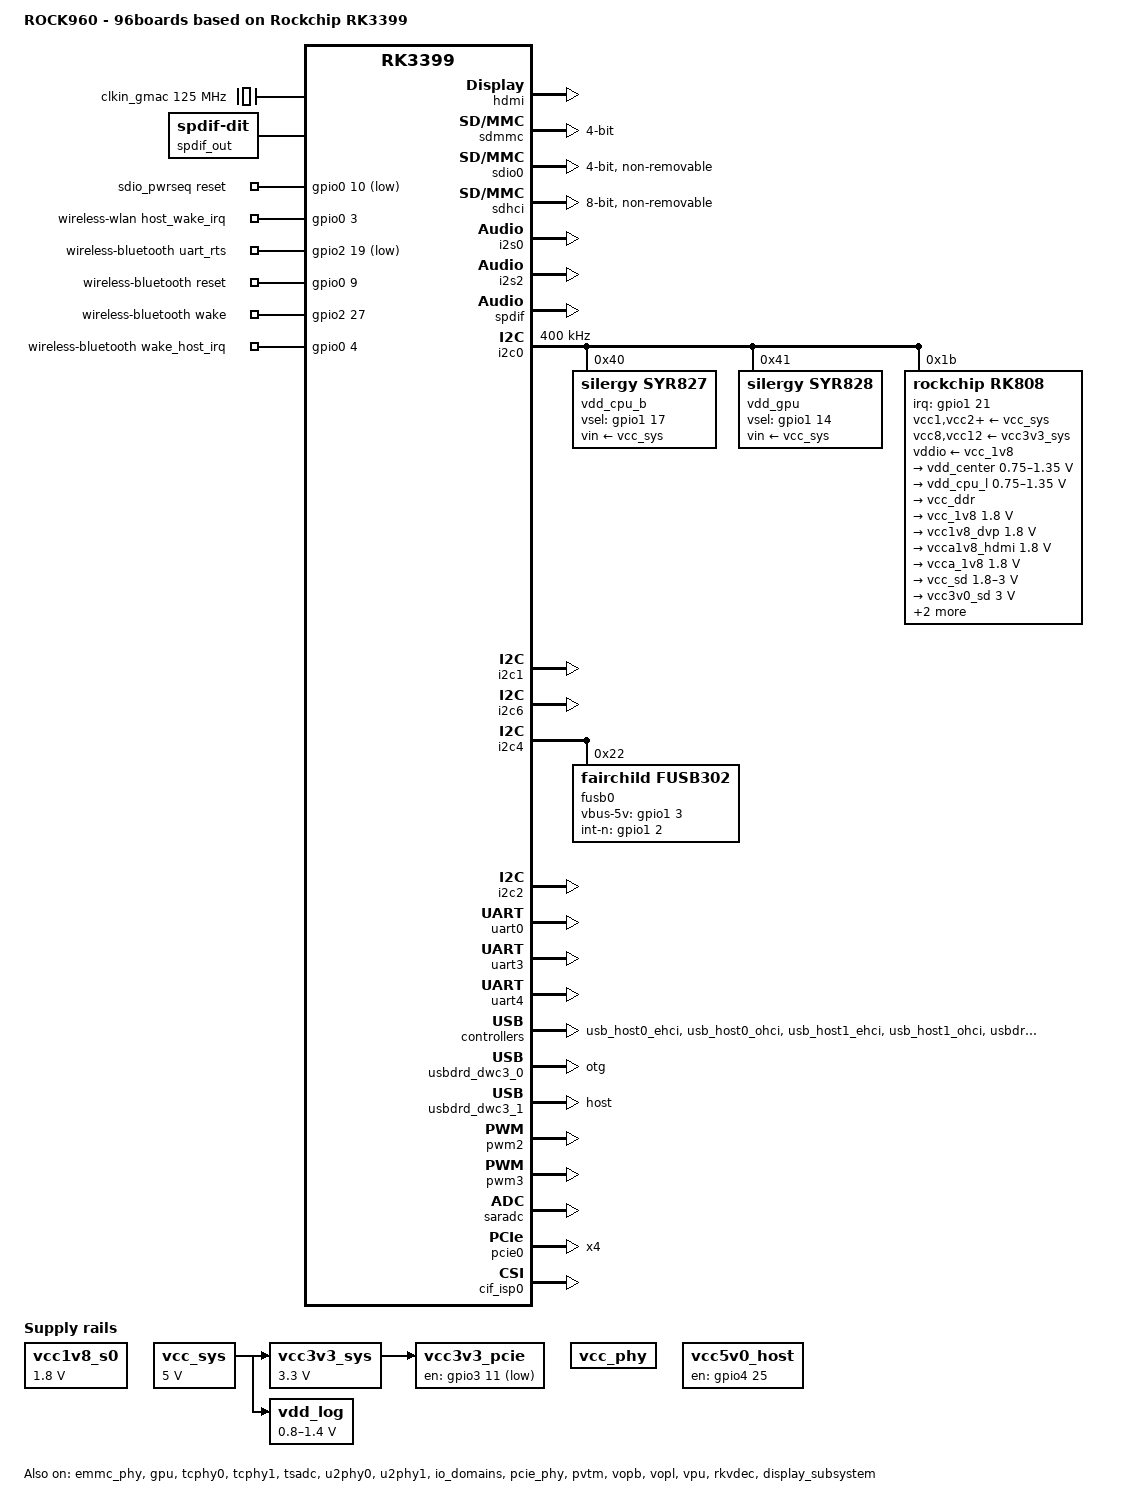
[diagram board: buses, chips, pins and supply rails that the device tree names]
// SPDX-License-Identifier: (GPL-2.0+ OR MIT)
/*
 * Copyright (c) 2018 Fuzhou Rockchip Electronics Co., Ltd
 */

/dts-v1/;

#include <dt-bindings/pwm/pwm.h>
#include <dt-bindings/input/input.h>
#include "rk3399.dtsi"
#include "rk3399-linux.dtsi"
#include "rk3399-opp.dtsi"

/ {

	model = "ROCK960 - 96boards based on Rockchip RK3399";
	compatible = "rockchip,rock960","rockchip,rk3399";

	fiq_debugger: fiq-debugger {
		compatible = "rockchip,fiq-debugger";
		rockchip,serial-id = <2>;
		rockchip,signal-irq = <182>;
		rockchip,wake-irq = <0>;
		rockchip,irq-mode-enable = <1>;
		rockchip,baudrate = <1500000>;  /* Only 115200 and 1500000 */
		pinctrl-names = "default";
		pinctrl-0 = <&uart2c_xfer>;
	};

	vcc1v8_s0: vcc1v8-s0 {
		compatible = "regulator-fixed";
		regulator-name = "vcc1v8_s0";
		regulator-min-microvolt = <1800000>;
		regulator-max-microvolt = <1800000>;
		regulator-always-on;
	};

	vcc_sys: vcc-sys {
		compatible = "regulator-fixed";
		regulator-name = "vcc_sys";
		regulator-min-microvolt = <5000000>;
		regulator-max-microvolt = <5000000>;
		regulator-always-on;
	};

	vcc_phy: vcc-phy-regulator {
		compatible = "regulator-fixed";
		regulator-name = "vcc_phy";
		regulator-always-on;
		regulator-boot-on;
	};

	vcc3v3_sys: vcc3v3-sys {
		compatible = "regulator-fixed";
		regulator-name = "vcc3v3_sys";
		regulator-min-microvolt = <3300000>;
		regulator-max-microvolt = <3300000>;
		regulator-always-on;
		vin-supply = <&vcc_sys>;
	};

	vcc3v3_pcie: vcc3v3-pcie-regulator {
		compatible = "regulator-fixed";
		gpio = <&gpio3 11 GPIO_ACTIVE_LOW>;
		pinctrl-names = "default";
		pinctrl-0 = <&pcie_drv>;
		regulator-boot-on;
		regulator-always-on;
		regulator-name = "vcc3v3_pcie";
		vin-supply = <&vcc3v3_sys>;
	};

	vcc5v0_host: vcc5v0-host-regulator {
		compatible = "regulator-fixed";
		enable-active-high;
		gpio = <&gpio4 25 GPIO_ACTIVE_HIGH>;
		pinctrl-names = "default";
		pinctrl-0 = <&host_vbus_drv>;
		regulator-name = "vcc5v0_host";
		regulator-always-on;
	};

	vdd_log: vdd-log {
		compatible = "pwm-regulator";
		pwms = <&pwm2 0 25000 1>;
		regulator-name = "vdd_log";
		regulator-min-microvolt = <800000>;
		regulator-max-microvolt = <1400000>;
		regulator-always-on;
		regulator-boot-on;

		/* for rockchip boot on */
		rockchip,pwm_id= <2>;
		rockchip,pwm_voltage = <900000>;

		vin-supply = <&vcc_sys>;
	};

	clkin_gmac: external-gmac-clock {
		compatible = "fixed-clock";
		clock-frequency = <125000000>;
		clock-output-names = "clkin_gmac";
		#clock-cells = <0>;
	};

	hdmi_codec: hdmi-codec {
		compatible = "simple-audio-card";
		simple-audio-card,format = "i2s";
		simple-audio-card,mclk-fs = <256>;
		simple-audio-card,name = "HDMI-CODEC";

		simple-audio-card,cpu {
			sound-dai = <&i2s2>;
		};

		simple-audio-card,codec {
			sound-dai = <&hdmi>;
		};
	};

	spdif-sound {
		status = "okay";
		compatible = "simple-audio-card";
		simple-audio-card,name = "ROCKCHIP,SPDIF";
		simple-audio-card,cpu {
			sound-dai = <&spdif>;
		};
		simple-audio-card,codec {
			sound-dai = <&spdif_out>;
		};
	};

	spdif_out: spdif-out {
		status = "okay";
		compatible = "linux,spdif-dit";
		#sound-dai-cells = <0>;
	};

	sdio_pwrseq: sdio-pwrseq {
		compatible = "mmc-pwrseq-simple";
		clocks = <&rk808 1>;
		clock-names = "ext_clock";
		pinctrl-names = "default";
		pinctrl-0 = <&wifi_enable_h>;

		/*
		 * On the module itself this is one of these (depending
		 * on the actual card populated):
		 * - SDIO_RESET_L_WL_REG_ON
		 * - PDN (power down when low)
		 */
		reset-gpios = <&gpio0 10 GPIO_ACTIVE_LOW>;
	};

	wireless-wlan {
		compatible = "wlan-platdata";
		rockchip,grf = <&grf>;
		wifi_chip_type = "ap6354";
		sdio_vref = <1800>;
		WIFI,host_wake_irq = <&gpio0 3 GPIO_ACTIVE_HIGH>;
		status = "okay";
	};

	wireless-bluetooth {
		compatible = "bluetooth-platdata";
		clocks = <&rk808 1>;
		clock-names = "ext_clock";
		/* wifi-bt-power-toggle; */
		uart_rts_gpios = <&gpio2 19 GPIO_ACTIVE_LOW>;
		pinctrl-names = "default", "rts_gpio";
		pinctrl-0 = <&uart0_rts>;
		pinctrl-1 = <&uart0_gpios>;
		/* BT,power_gpio  = <&gpio3 19 GPIO_ACTIVE_HIGH>; */
		BT,reset_gpio    = <&gpio0 9 GPIO_ACTIVE_HIGH>;
		BT,wake_gpio     = <&gpio2 27 GPIO_ACTIVE_HIGH>;
		BT,wake_host_irq = <&gpio0 4 GPIO_ACTIVE_HIGH>;
		status = "okay";
	};

	test-power {
		status = "okay";
	};
};

&hdmi {
	#address-cells = <1>;
	#size-cells = <0>;
	#sound-dai-cells = <0>;
	status = "okay";
};

&sdmmc {
	clock-frequency = <100000000>;
	clock-freq-min-max = <100000 100000000>;
	supports-sd;
	bus-width = <4>;
	cap-mmc-highspeed;
	cap-sd-highspeed;
	disable-wp;
	num-slots = <1>;
	//sd-uhs-sdr104;
	vqmmc-supply = <&vcc_sd>;
	pinctrl-names = "default";
	pinctrl-0 = <&sdmmc_clk &sdmmc_cmd &sdmmc_cd &sdmmc_bus4>;
	card-detect-delay = <800>;
	status = "okay";
};

&sdio0 {
	clock-frequency = <100000000>;
	clock-freq-min-max = <200000 100000000>;
	supports-sdio;
	bus-width = <4>;
	disable-wp;
	cap-sd-highspeed;
	cap-sdio-irq;
	keep-power-in-suspend;
	mmc-pwrseq = <&sdio_pwrseq>;
	non-removable;
	num-slots = <1>;
	pinctrl-names = "default";
	pinctrl-0 = <&sdio0_bus4 &sdio0_cmd &sdio0_clk>;
	sd-uhs-sdr104;
	status = "okay";
};

&emmc_phy {
	status = "okay";
};

&sdhci {
	bus-width = <8>;
	mmc-hs400-1_8v;
	supports-emmc;
	non-removable;
	mmc-hs400-enhanced-strobe;
	status = "okay";
};

&i2s0 {
	status = "okay";
	rockchip,i2s-broken-burst-len;
	rockchip,playback-channels = <8>;
	rockchip,capture-channels = <8>;
	#sound-dai-cells = <0>;
};

&i2s2 {
	status = "okay";
	#sound-dai-cells = <0>;
};

&spdif {
	pinctrl-0 = <&spdif_bus_1>;
	status = "okay";
	#sound-dai-cells = <0>;
};

&i2c0 {
	status = "okay";
	i2c-scl-rising-time-ns = <168>;
	i2c-scl-falling-time-ns = <4>;
	clock-frequency = <400000>;

	vdd_cpu_b: syr827@40 {
		compatible = "silergy,syr827";
		reg = <0x40>;
		regulator-compatible = "fan53555-reg";
		pinctrl-0 = <&vsel1_gpio>;
		vsel-gpios = <&gpio1 17 GPIO_ACTIVE_HIGH>;
		regulator-name = "vdd_cpu_b";
		regulator-min-microvolt = <712500>;
		regulator-max-microvolt = <1500000>;
		regulator-ramp-delay = <1000>;
		fcs,suspend-voltage-selector = <1>;
		regulator-always-on;
		regulator-boot-on;
		vin-supply = <&vcc_sys>;
		regulator-state-mem {
			regulator-off-in-suspend;
		};
	};

	vdd_gpu: syr828@41 {
		compatible = "silergy,syr828";
		reg = <0x41>;
		regulator-compatible = "fan53555-reg";
		pinctrl-0 = <&vsel2_gpio>;
		vsel-gpios = <&gpio1 14 GPIO_ACTIVE_HIGH>;
		regulator-name = "vdd_gpu";
		regulator-min-microvolt = <712500>;
		regulator-max-microvolt = <1500000>;
		regulator-ramp-delay = <1000>;
		fcs,suspend-voltage-selector = <1>;
		regulator-always-on;
		regulator-boot-on;
		vin-supply = <&vcc_sys>;
		regulator-initial-mode = <1>; /* 1:force PWM 2:auto */
		regulator-state-mem {
			regulator-off-in-suspend;
		};
	};

	rk808: pmic@1b {
		compatible = "rockchip,rk808";
		reg = <0x1b>;
		interrupt-parent = <&gpio1>;
		interrupts = <21 IRQ_TYPE_LEVEL_LOW>;
		pinctrl-names = "default";
		pinctrl-0 = <&pmic_int_l>;
		rockchip,system-power-controller;
		wakeup-source;
		#clock-cells = <1>;
		clock-output-names = "xin32k", "rk808-clkout2";

		vcc1-supply = <&vcc_sys>;
		vcc2-supply = <&vcc_sys>;
		vcc3-supply = <&vcc_sys>;
		vcc4-supply = <&vcc_sys>;
		vcc6-supply = <&vcc_sys>;
		vcc7-supply = <&vcc_sys>;
		vcc8-supply = <&vcc3v3_sys>;
		vcc9-supply = <&vcc_sys>;
		vcc10-supply = <&vcc_sys>;
		vcc11-supply = <&vcc_sys>;
		vcc12-supply = <&vcc3v3_sys>;
		vddio-supply = <&vcc_1v8>;

		regulators {
			vdd_center: DCDC_REG1 {
				regulator-name = "vdd_center";
				regulator-min-microvolt = <750000>;
				regulator-max-microvolt = <1350000>;
				regulator-ramp-delay = <6001>;
				regulator-always-on;
				regulator-boot-on;
				regulator-state-mem {
					regulator-off-in-suspend;
				};
			};

			vdd_cpu_l: DCDC_REG2 {
				regulator-name = "vdd_cpu_l";
				regulator-min-microvolt = <750000>;
				regulator-max-microvolt = <1350000>;
				regulator-ramp-delay = <6001>;
				regulator-always-on;
				regulator-boot-on;
				regulator-state-mem {
					regulator-off-in-suspend;
				};
			};

			vcc_ddr: DCDC_REG3 {
				regulator-name = "vcc_ddr";
				regulator-always-on;
				regulator-boot-on;
				regulator-state-mem {
					regulator-on-in-suspend;
				};
			};

			vcc_1v8: DCDC_REG4 {
				regulator-name = "vcc_1v8";
				regulator-min-microvolt = <1800000>;
				regulator-max-microvolt = <1800000>;
				regulator-always-on;
				regulator-boot-on;
				regulator-state-mem {
					regulator-on-in-suspend;
					regulator-suspend-microvolt = <1800000>;
				};
			};

			vcc1v8_dvp: LDO_REG1 {
				regulator-name = "vcc1v8_dvp";
				regulator-min-microvolt = <1800000>;
				regulator-max-microvolt = <1800000>;
				regulator-always-on;
				regulator-boot-on;
				regulator-state-mem {
					regulator-on-in-suspend;
					regulator-suspend-microvolt = <1800000>;
				};
			};

			vcca1v8_hdmi: LDO_REG2 {
				regulator-name = "vcca1v8_hdmi";
				regulator-min-microvolt = <1800000>;
				regulator-max-microvolt = <1800000>;
				regulator-always-on;
				regulator-boot-on;
				regulator-state-mem {
					regulator-on-in-suspend;
					regulator-suspend-microvolt = <1800000>;
				};
			};

			vcca_1v8: LDO_REG3 {
				regulator-name = "vcca_1v8";
				regulator-min-microvolt = <1800000>;
				regulator-max-microvolt = <1800000>;
				regulator-always-on;
				regulator-boot-on;
				regulator-state-mem {
					regulator-on-in-suspend;
					regulator-suspend-microvolt = <1800000>;
				};
			};

			vcc_sd: LDO_REG4 {
				regulator-name = "vcc_sd";
				regulator-min-microvolt = <1800000>;
				regulator-max-microvolt = <3000000>;
				regulator-always-on;
				regulator-boot-on;
				regulator-state-mem {
					regulator-on-in-suspend;
					regulator-suspend-microvolt = <3000000>;
				};
			};

			vcc3v0_sd: LDO_REG5 {
				regulator-name = "vcc3v0_sd";
				regulator-min-microvolt = <3000000>;
				regulator-max-microvolt = <3000000>;
				regulator-always-on;
				regulator-boot-on;
				regulator-state-mem {
					regulator-on-in-suspend;
					regulator-suspend-microvolt = <3000000>;
				};
			};

			vcc_1v5: LDO_REG6 {
				regulator-name = "vcc_1v5";
				regulator-min-microvolt = <1500000>;
				regulator-max-microvolt = <1500000>;
				regulator-always-on;
				regulator-boot-on;
				regulator-state-mem {
					regulator-on-in-suspend;
					regulator-suspend-microvolt = <1500000>;
				};
			};

			vcca0v9_hdmi: LDO_REG7 {
				regulator-name = "vcca0v9_hdmi";
				regulator-min-microvolt = <900000>;
				regulator-max-microvolt = <900000>;
				regulator-always-on;
				regulator-boot-on;
				regulator-state-mem {
					regulator-on-in-suspend;
					regulator-suspend-microvolt = <900000>;
				};
			};

			vcc_3v0: LDO_REG8 {
				regulator-name = "vcc_3v0";
				regulator-min-microvolt = <3000000>;
				regulator-max-microvolt = <3000000>;
				regulator-always-on;
				regulator-boot-on;
				regulator-state-mem {
					regulator-on-in-suspend;
					regulator-suspend-microvolt = <3000000>;
				};
			};

			vcc3v3_s3: SWITCH_REG1 {
				regulator-name = "vcc3v3_s3";
				regulator-always-on;
				regulator-boot-on;
				regulator-state-mem {
					regulator-on-in-suspend;
				};
			};

			vcc3v3_s0: SWITCH_REG2 {
				regulator-name = "vcc3v3_s0";
				regulator-always-on;
				regulator-boot-on;
				regulator-state-mem {
					regulator-on-in-suspend;
				};
			};
		};
	};
};

&i2c1 {
	status = "okay";
};

&i2c6 {
	status = "okay";
};

&i2c4 {
	status = "okay";
	fusb0: fusb30x@22 {
		compatible = "fairchild,fusb302";
		reg = <0x22>;
		pinctrl-names = "default";
		pinctrl-0 = <&fusb0_int>;
		vbus-5v-gpios = <&gpio1 3 GPIO_ACTIVE_HIGH>;
		int-n-gpios = <&gpio1 2 GPIO_ACTIVE_HIGH>;
		status = "okay";
	};
};

&i2c2 {
	status = "okay";
	camera0: camera-module@10 {
		status = "disabled";
		compatible = "omnivision,ov13850-v4l2-i2c-subdev";
		reg = < 0x10 >;
		device_type = "v4l2-i2c-subdev";
		clocks = <&cru SCLK_CIF_OUT>;
		clock-names = "clk_cif_out";
		pinctrl-names = "rockchip,camera_default",
				"rockchip,camera_sleep";
		pinctrl-0 = <&cam0_default_pins>;
		pinctrl-1 = <&cam0_sleep_pins>;
		//rockchip,pd-gpio = <&gpio4 4 GPIO_ACTIVE_LOW>;
		rockchip,pwr-gpio = <&gpio4 4 GPIO_ACTIVE_HIGH>;
		rockchip,rst-gpio = <&gpio3 29 GPIO_ACTIVE_LOW>;
		rockchip,camera-module-mclk-name = "clk_cif_out";
		rockchip,camera-module-facing = "back";
		rockchip,camera-module-name = "cmk-cb0695-fv1";
		rockchip,camera-module-len-name = "lg9569a2";
		rockchip,camera-module-fov-h = "66.0";
		rockchip,camera-module-fov-v = "50.1";
		rockchip,camera-module-orientation = <0>;
		rockchip,camera-module-iq-flip = <0>;
		rockchip,camera-module-iq-mirror = <0>;
		rockchip,camera-module-flip = <1>;
		rockchip,camera-module-mirror = <0>;

		rockchip,camera-module-defrect0 = <2112 1568 0 0 2112 1568>;
		rockchip,camera-module-defrect1 = <4224 3136 0 0 4224 3136>;
		rockchip,camera-module-defrect3 = <3264 2448 0 0 3264 2448>;
		rockchip,camera-module-flash-support = <1>;
		rockchip,camera-module-mipi-dphy-index = <0>;
	};

	camera1: camera-module@36 {
		status = "disabled";
		compatible = "omnivision,ov4690-v4l2-i2c-subdev";
		reg = <0x36>;
		device_type = "v4l2-i2c-subdev";
		clocks = <&cru SCLK_CIF_OUT>;
		clock-names = "clk_cif_out";
		pinctrl-names = "rockchip,camera_default",
				"rockchip,camera_sleep";
		pinctrl-0 = <&cam0_default_pins>;
		pinctrl-1 = <&cam0_sleep_pins>;
		rockchip,pd-gpio = <&gpio3 4 GPIO_ACTIVE_LOW>;
		//rockchip,pwr-gpio = <&gpio3 13 0>;
		rockchip,rst-gpio = <&gpio2 10 GPIO_ACTIVE_LOW>;
		rockchip,camera-module-mclk-name = "clk_cif_out";
		rockchip,camera-module-facing = "back";
		rockchip,camera-module-name = "LA6111PA";
		rockchip,camera-module-len-name = "YM6011P";
		rockchip,camera-module-fov-h = "116";
		rockchip,camera-module-fov-v = "61";
		rockchip,camera-module-orientation = <0>;
		rockchip,camera-module-iq-flip = <0>;
		rockchip,camera-module-iq-mirror = <0>;
		rockchip,camera-module-flip = <0>;
		rockchip,camera-module-mirror = <1>;

		rockchip,camera-module-defrect0 = <2688 1520 0 0 2688 1520>;
		rockchip,camera-module-flash-support = <0>;
		rockchip,camera-module-mipi-dphy-index = <0>;
	};

};

&cpu_l0 {
	cpu-supply = <&vdd_cpu_l>;
};

&cpu_l1 {
	cpu-supply = <&vdd_cpu_l>;
};

&cpu_l2 {
	cpu-supply = <&vdd_cpu_l>;
};

&cpu_l3 {
	cpu-supply = <&vdd_cpu_l>;
};

&cpu_b0 {
	cpu-supply = <&vdd_cpu_b>;
};

&cpu_b1 {
	cpu-supply = <&vdd_cpu_b>;
};

&gpu {
	status = "okay";
	mali-supply = <&vdd_gpu>;
};

&threshold {
	temperature = <85000>;
};

&target {
	temperature = <100000>;
};

&soc_crit {
	temperature = <105000>;
};

&tcphy0 {
	extcon = <&fusb0>;
	status = "okay";
};

&tcphy1 {
	status = "okay";
};

&tsadc {
	/* tshut mode 0:CRU 1:GPIO */
	rockchip,hw-tshut-mode = <1>;
	/* tshut polarity 0:LOW 1:HIGH */
	rockchip,hw-tshut-polarity = <1>;
	rockchip,hw-tshut-temp = <110000>;
	status = "okay";
};

&u2phy0 {
	status = "okay";
	extcon = <&fusb0>;

	u2phy0_otg: otg-port {
		status = "okay";
	};

	u2phy0_host: host-port {
		phy-supply = <&vcc5v0_host>;
		status = "okay";
	};
};

&u2phy1 {
	status = "okay";

	u2phy1_otg: otg-port {
		status = "okay";
	};

	u2phy1_host: host-port {
		phy-supply = <&vcc5v0_host>;
		status = "okay";
	};
};

&uart0 {
	pinctrl-names = "default";
	pinctrl-0 = <&uart0_xfer &uart0_cts>;
	dmas = <&dmac_peri 0>, <&dmac_peri 1>;
	dma-names = "tx", "rx";
	status = "okay";
};

&uart3 {
	compatible = "rockchip,rk3399-uart", "snps,dw-apb-uart";
	reg = <0x0 0xff1b0000 0x0 0x100>;
	clocks = <&cru SCLK_UART3>, <&cru PCLK_UART3>;
	clock-names = "baudclk", "apb_pclk";
	interrupts = <GIC_SPI 101 IRQ_TYPE_LEVEL_HIGH 0>;
	dmas = <&dmac_peri 6>, <&dmac_peri 7>;
	dma-names = "tx", "rx";
	reg-shift = <2>;
	reg-io-width = <4>;
	pinctrl-names = "default";
	pinctrl-0 = <&uart3_xfer &uart3_cts &uart3_rts>;
	status = "okay";
};

&uart4 {
	status = "okay";
	dmas = <&dmac_peri 8>, <&dmac_peri 9>;
	dma-names = "tx", "rx";
};

&usb_host0_ehci {
	status = "okay";
};

&usb_host0_ohci {
	status = "okay";
};

&usb_host1_ehci {
	status = "okay";
};

&usb_host1_ohci {
	status = "okay";
};

&usbdrd3_0 {
	extcon = <&fusb0>;
	status = "okay";
};

&usbdrd_dwc3_0 {
	dr_mode = "otg";
	status = "okay";
};

&usbdrd3_1 {
	status = "okay";
};

&usbdrd_dwc3_1 {
	dr_mode = "host";
	status = "okay";
};

&pwm2 {
	status = "okay";
};

&pwm3 {
	status = "okay";

	interrupts = <GIC_SPI 61 IRQ_TYPE_LEVEL_HIGH 0>;
	compatible = "rockchip,remotectl-pwm";
	remote_pwm_id = <3>;
	handle_cpu_id = <1>;
	remote_support_psci = <1>;

	ir_key1 {
		rockchip,usercode = <0x4040>;
		rockchip,key_table =
			<0xf2	KEY_REPLY>,
			<0xba	KEY_BACK>,
			<0xf4	KEY_UP>,
			<0xf1	KEY_DOWN>,
			<0xef	KEY_LEFT>,
			<0xee	KEY_RIGHT>,
			<0xbd	KEY_HOME>,
			<0xea	KEY_VOLUMEUP>,
			<0xe3	KEY_VOLUMEDOWN>,
			<0xe2	KEY_SEARCH>,
			<0xb2	KEY_POWER>,
			<0xbc	KEY_MUTE>,
			<0xec	KEY_MENU>,
			<0xbf	0x190>,
			<0xe0	0x191>,
			<0xe1	0x192>,
			<0xe9	183>,
			<0xe6	248>,
			<0xe8	185>,
			<0xe7	186>,
			<0xf0	388>,
			<0xbe	0x175>;
	};

	ir_key2 {
		rockchip,usercode = <0xff00>;
		rockchip,key_table =
			<0xf9	KEY_HOME>,
			<0xbf	KEY_BACK>,
			<0xfb	KEY_MENU>,
			<0xaa	KEY_REPLY>,
			<0xb9	KEY_UP>,
			<0xe9	KEY_DOWN>,
			<0xb8	KEY_LEFT>,
			<0xea	KEY_RIGHT>,
			<0xeb	KEY_VOLUMEDOWN>,
			<0xef	KEY_VOLUMEUP>,
			<0xf7	KEY_MUTE>,
			<0xe7	KEY_POWER>,
			<0xfc	KEY_POWER>,
			<0xa9	KEY_VOLUMEDOWN>,
			<0xa8	KEY_VOLUMEDOWN>,
			<0xe0	KEY_VOLUMEDOWN>,
			<0xa5	KEY_VOLUMEDOWN>,
			<0xab	183>,
			<0xb7	388>,
			<0xe8	388>,
			<0xf8	184>,
			<0xaf	185>,
			<0xed	KEY_VOLUMEDOWN>,
			<0xee	186>,
			<0xb3	KEY_VOLUMEDOWN>,
			<0xf1	KEY_VOLUMEDOWN>,
			<0xf2	KEY_VOLUMEDOWN>,
			<0xf3	KEY_SEARCH>,
			<0xb4	KEY_VOLUMEDOWN>,
			<0xbe	KEY_SEARCH>;
	};

	ir_key3 {
		rockchip,usercode = <0x1dcc>;
		rockchip,key_table =
			<0xee	KEY_REPLY>,
			<0xf0	KEY_BACK>,
			<0xf8	KEY_UP>,
			<0xbb	KEY_DOWN>,
			<0xef	KEY_LEFT>,
			<0xed	KEY_RIGHT>,
			<0xfc	KEY_HOME>,
			<0xf1	KEY_VOLUMEUP>,
			<0xfd	KEY_VOLUMEDOWN>,
			<0xb7	KEY_SEARCH>,
			<0xff	KEY_POWER>,
			<0xf3	KEY_MUTE>,
			<0xbf	KEY_MENU>,
			<0xf9	0x191>,
			<0xf5	0x192>,
			<0xb3	388>,
			<0xbe	KEY_1>,
			<0xba	KEY_2>,
			<0xb2	KEY_3>,
			<0xbd	KEY_4>,
			<0xf9	KEY_5>,
			<0xb1	KEY_6>,
			<0xfc	KEY_7>,
			<0xf8	KEY_8>,
			<0xb0	KEY_9>,
			<0xb6	KEY_0>,
			<0xb5	KEY_BACKSPACE>;
	};
};

&gmac {
	phy-supply = <&vcc_phy>;
	phy-mode = "rgmii";
	clock_in_out = "input";
	snps,reset-gpio = <&gpio3 15 GPIO_ACTIVE_LOW>;
	snps,reset-active-low;
	snps,reset-delays-us = <0 10000 50000>;
	assigned-clocks = <&cru SCLK_RMII_SRC>;
	assigned-clock-parents = <&clkin_gmac>;
	pinctrl-names = "default", "sleep";
	pinctrl-0 = <&rgmii_pins>;
	pinctrl-1 = <&rgmii_sleep_pins>;
	tx_delay = <0x28>;
	rx_delay = <0x11>;
	status = "disabled";
};

&saradc {
	status = "okay";
};

&io_domains {
	status = "okay";

	bt656-supply = <&vcc1v8_s0>; /* bt656_gpio2ab_ms */
	audio-supply = <&vcc1v8_s0>; /* audio_gpio3d4a_ms */
	sdmmc-supply = <&vcc_sd>; /* sdmmc_gpio4b_ms */
	gpio1830-supply = <&vcc_3v0>; /* gpio1833_gpio4cd_ms */
};

&pcie_phy {
	status = "okay";
};

&pcie0 {
	ep-gpios = <&gpio3 9 GPIO_ACTIVE_HIGH>;
	num-lanes = <4>;
	pinctrl-names = "default";
	pinctrl-0 = <&pcie_clkreqn_cpm>;
	status = "okay";
};

&pinctrl {

	sdio0 {
		sdio0_bus1: sdio0-bus1 {
			rockchip,pins =
				<2 20 RK_FUNC_1 &pcfg_pull_up_20ma>;
		};

		sdio0_bus4: sdio0-bus4 {
			rockchip,pins =
				<2 20 RK_FUNC_1 &pcfg_pull_up_20ma>,
				<2 21 RK_FUNC_1 &pcfg_pull_up_20ma>,
				<2 22 RK_FUNC_1 &pcfg_pull_up_20ma>,
				<2 23 RK_FUNC_1 &pcfg_pull_up_20ma>;
		};

		sdio0_cmd: sdio0-cmd {
			rockchip,pins =
				<2 24 RK_FUNC_1 &pcfg_pull_up_20ma>;
		};

		sdio0_clk: sdio0-clk {
			rockchip,pins =
				<2 25 RK_FUNC_1 &pcfg_pull_none_20ma>;
		};
	};

	sdmmc {
		sdmmc_bus1: sdmmc-bus1 {
			rockchip,pins =
				<4 8 RK_FUNC_1 &pcfg_pull_up_8ma>;
		};

		sdmmc_bus4: sdmmc-bus4 {
			rockchip,pins =
				<4 8 RK_FUNC_1 &pcfg_pull_up_8ma>,
				<4 9 RK_FUNC_1 &pcfg_pull_up_8ma>,
				<4 10 RK_FUNC_1 &pcfg_pull_up_8ma>,
				<4 11 RK_FUNC_1 &pcfg_pull_up_8ma>;
		};

		sdmmc_clk: sdmmc-clk {
			rockchip,pins =
				<4 12 RK_FUNC_1 &pcfg_pull_none_18ma>;
		};

		sdmmc_cmd: sdmmc-cmd {
			rockchip,pins =
				<4 13 RK_FUNC_1 &pcfg_pull_up_8ma>;
		};
	};

	sdio-pwrseq {
		wifi_enable_h: wifi-enable-h {
			rockchip,pins =
				<0 10 RK_FUNC_GPIO &pcfg_pull_none>;
		};
	};

	wireless-bluetooth {
		uart0_gpios: uart0-gpios {
			rockchip,pins =
				<2 19 RK_FUNC_GPIO &pcfg_pull_none>;
		};
	};

	usb2 {
		host_vbus_drv: host-vbus-drv {
			rockchip,pins =
				<4 25 RK_FUNC_GPIO &pcfg_pull_none>;
		};
	};

	pcie {
		pcie_drv: pcie-drv {
			rockchip,pins =
				<3 11 RK_FUNC_GPIO &pcfg_pull_none>;
			};
	};

	pmic {
		pmic_int_l: pmic-int-l {
			rockchip,pins =
				<1 21 RK_FUNC_GPIO &pcfg_pull_up>;
		};

		vsel1_gpio: vsel1-gpio {
			rockchip,pins =
				<1 17 RK_FUNC_GPIO &pcfg_pull_down>;
		};

		vsel2_gpio: vsel2-gpio {
			rockchip,pins =
				<1 14 RK_FUNC_GPIO &pcfg_pull_down>;
		};
	};

	gmac {
		rgmii_sleep_pins: rgmii-sleep-pins {
			rockchip,pins =
				<3 15 RK_FUNC_GPIO &pcfg_output_low>;
		};
	};

	fusb30x {
		fusb0_int: fusb0-int {
			rockchip,pins =
				<1 2 RK_FUNC_GPIO &pcfg_pull_up>;
		};
	};
};

&pvtm {
	status = "okay";
};

&pmu_pvtm {
	status = "okay";
};

&pmu_io_domains {
	status = "okay";
	pmu1830-supply = <&vcc_1v8>;
};

&rockchip_suspend {
	status = "okay";
	rockchip,sleep-debug-en = <0>;
	rockchip,sleep-mode-config = <
		(0
		| RKPM_SLP_ARMPD
		| RKPM_SLP_PERILPPD
		| RKPM_SLP_DDR_RET
		| RKPM_SLP_PLLPD
		| RKPM_SLP_CENTER_PD
		| RKPM_SLP_AP_PWROFF
		)
	>;
	rockchip,wakeup-config = <
		(0
		| RKPM_GPIO_WKUP_EN
		| RKPM_PWM_WKUP_EN
		)
	>;
	rockchip,pwm-regulator-config = <
		(0
		| PWM2_REGULATOR_EN
		)
	>;
	rockchip,power-ctrl =
		<&gpio1 17 GPIO_ACTIVE_HIGH>,
		<&gpio1 14 GPIO_ACTIVE_HIGH>;
};

&vopb {
	status = "okay";
};

&vopb_mmu {
	status = "okay";
};

&vopl {
	status = "okay";
};

&vopl_mmu {
	status = "okay";
};

&cif_isp0 {
	rockchip,camera-modules-attached = <&camera0>;
	status = "okay";
};

&isp0_mmu {
	status = "okay";
};

&cif_isp1 {
	rockchip,camera-modules-attached = <&camera1>;
	status = "disabled";
};

&isp1_mmu {
	status = "okay";
};

&vpu {
	status = "okay";
	/* 0 means ion, 1 means drm */
	//allocator = <0>;
};

&rkvdec {
	status = "okay";
	/* 0 means ion, 1 means drm */
	//allocator = <0>;
};

&display_subsystem {
	status = "okay";
};
